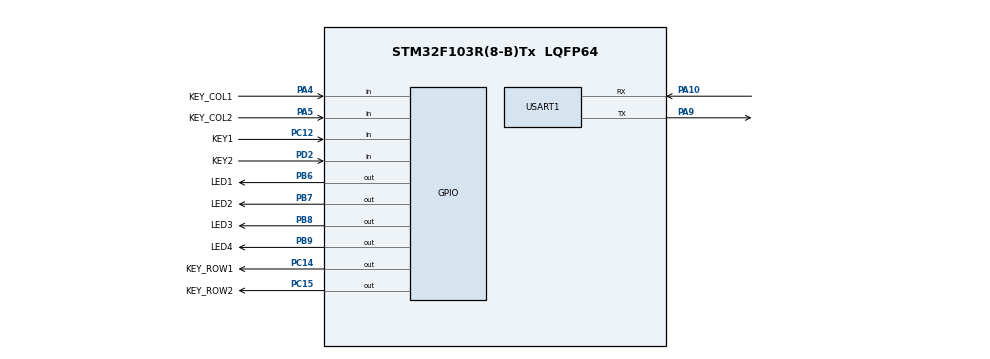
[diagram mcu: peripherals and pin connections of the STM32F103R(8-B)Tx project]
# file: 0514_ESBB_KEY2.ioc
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Mcu.Family=STM32F1
Mcu.Name=STM32F103R(8-B)Tx
Mcu.Package=LQFP64
NVIC.PriorityGroup=NVIC_PRIORITYGROUP_4
NVIC.TIM1_UP_IRQn=true\:0\:0\:false\:false\:true\:true\:true
PA10.Mode=Asynchronous
PA10.Signal=USART1_RX
PA13.Mode=Serial_Wire
PA13.Signal=SYS_JTMS-SWDIO
PA14.Mode=Serial_Wire
PA14.Signal=SYS_JTCK-SWCLK
PA4.GPIO_Label=KEY_COL1
PA4.Signal=GPIO_Input
PA5.GPIO_Label=KEY_COL2
PA5.Signal=GPIO_Input
PA9.Mode=Asynchronous
PA9.Signal=USART1_TX
PB6.GPIO_Label=LED1
PB6.Signal=GPIO_Output
PB7.GPIO_Label=LED2
PB7.Signal=GPIO_Output
PB8.GPIO_Label=LED3
PB8.Signal=GPIO_Output
PB9.GPIO_Label=LED4
PB9.Signal=GPIO_Output
PC12.GPIO_Label=KEY1
PC12.Signal=GPIO_Input
PC14-OSC32_IN.GPIO_Label=KEY_ROW1
PC14-OSC32_IN.Signal=GPIO_Output
PC15-OSC32_OUT.GPIO_Label=KEY_ROW2
PC15-OSC32_OUT.Signal=GPIO_Output
PD2.GPIO_Label=KEY2
PD2.Signal=GPIO_Input
ProjectManager.HeapSize=0x200
ProjectManager.StackSize=0x400
ProjectManager.TargetToolchain=TrueSTUDIO
RCC.APB1Freq_Value=8000000
RCC.APB2Freq_Value=8000000
TIM1.AutoReloadPreload=TIM_AUTORELOAD_PRELOAD_ENABLE
TIM1.Period=1000-1
TIM1.Prescaler=8-1
USART1.VirtualMode=VM_ASYNC
VP_TIM1_VS_ClockSourceINT.Mode=Internal
board=custom

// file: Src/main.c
/* USER CODE BEGIN Header */
/**
  ******************************************************************************
  * @file           : main.c
  * @brief          : Main program body
  ******************************************************************************
  * @attention
  *
  * <h2><center>&copy; Copyright (c) 2021 STMicroelectronics.
  * All rights reserved.</center></h2>
  *
  * This software component is licensed by ST under BSD 3-Clause license,
  * the "License"; You may not use this file except in compliance with the
  * License. You may obtain a copy of the License at:
  *                        opensource.org/licenses/BSD-3-Clause
  *
  ******************************************************************************
  */
/* USER CODE END Header */

#include "main.h"

/* USER CODE BEGIN Includes */
#include <stdio.h>

#include "led.h"
#include "key.h"
/* USER CODE END Includes */

TIM_HandleTypeDef htim1;

UART_HandleTypeDef huart1;

void SystemClock_Config(void);
static void MX_GPIO_Init(void);
static void MX_TIM1_Init(void);
static void MX_USART1_UART_Init(void);

/* USER CODE BEGIN 0 */
volatile uint32_t Tick1m;
uint32_t KeyScanFlag = RESET;

void HAL_TIM_PeriodElapsedCallback(TIM_HandleTypeDef *htim)
{
    Tick1m++;

    if( (Tick1m % 100) == 0)
    {
        //KeyScanTask();
        KeyScanFlag = SET;
    }
}

int _write(int file, char *ptr, int len)
{
    HAL_UART_Transmit(&huart1, (uint8_t *)ptr, len, 0xFFFFFFFF);

    return len;
}
/* USER CODE END 0 */

int main(void)
{
  /* USER CODE BEGIN 1 */
  uint8_t key = 0;

  KEY stKey;
  KEY* Key = &stKey ;
  /* USER CODE END 1 */

  /* MCU Configuration--------------------------------------------------------*/

  /* Reset of all peripherals, Initializes the Flash interface and the Systick. */
  HAL_Init();

  /* Configure the system clock */
  SystemClock_Config();

  /* Initialize all configured peripherals */
  MX_GPIO_Init();
  MX_TIM1_Init();
  MX_USART1_UART_Init();
  /* USER CODE BEGIN 2 */
  HAL_TIM_Base_Start_IT(&htim1);

  //KeyInit(&Key);
  KeyInit(Key);

  HAL_GPIO_WritePin(LED1_GPIO_Port, LED1_Pin, GPIO_PIN_SET);    // LED1 OFF
  HAL_GPIO_WritePin(LED2_GPIO_Port, LED2_Pin, GPIO_PIN_SET);    // LED2 OFF
  HAL_GPIO_WritePin(LED3_GPIO_Port, LED3_Pin, GPIO_PIN_SET);    // LED3 OFF
  HAL_GPIO_WritePin(LED4_GPIO_Port, LED4_Pin, GPIO_PIN_SET);    // LED4 OFF

  /* USER CODE END 2 */

  /* Infinite loop */
  while (1)
  {

    /* USER CODE BEGIN 3 */
      __HAL_TIM_DISABLE_IT(&htim1, TIM_IT_UPDATE);        /*** start critical section ***/
      if ( KeyScanFlag == SET)
      {
          KeyScanFlag = RESET;
          __HAL_TIM_ENABLE_IT(&htim1, TIM_IT_UPDATE);     /*** end critical section ***/
          //KeyScanTask();
          //KeyScanTask(&Key);
          KeyScanTask(Key);
      }
      __HAL_TIM_ENABLE_IT(&htim1, TIM_IT_UPDATE);         /*** end critical section ***/

      //if( KeyHit() )
      //if( KeyHit(&Key) )
      if( KeyHit(Key) )
      {

          //key = KeyGetKey();
          //key = KeyGetKey(&Key);
          key = KeyGetKey(Key);

          switch(key)
          {
              case 0:
              case 4:
              case 8:
                  HAL_GPIO_TogglePin(LED1_GPIO_Port, LED1_Pin);
                  break;
              case 1:
              case 5:
              case 9:
                  HAL_GPIO_TogglePin(LED2_GPIO_Port, LED2_Pin);
                  break;
              case 2:
              case 6:
              case 10:
                  HAL_GPIO_TogglePin(LED3_GPIO_Port, LED3_Pin);
                  break;
              case 3:
              case 7:
              case 11:
                  HAL_GPIO_TogglePin(LED4_GPIO_Port, LED4_Pin);
                  break;
          }
          printf("KEY : %d \r\n", key);
      }
  }
  /* USER CODE END 3 */
}

void SystemClock_Config(void)
{
  RCC_OscInitTypeDef RCC_OscInitStruct = {0};
  RCC_ClkInitTypeDef RCC_ClkInitStruct = {0};

  /** Initializes the CPU, AHB and APB busses clocks
  */
  RCC_OscInitStruct.OscillatorType = RCC_OSCILLATORTYPE_HSI;
  RCC_OscInitStruct.HSIState = RCC_HSI_ON;
  RCC_OscInitStruct.HSICalibrationValue = RCC_HSICALIBRATION_DEFAULT;
  RCC_OscInitStruct.PLL.PLLState = RCC_PLL_NONE;
  if (HAL_RCC_OscConfig(&RCC_OscInitStruct) != HAL_OK)
  {
    Error_Handler();
  }
  /** Initializes the CPU, AHB and APB busses clocks
  */
  RCC_ClkInitStruct.ClockType = RCC_CLOCKTYPE_HCLK|RCC_CLOCKTYPE_SYSCLK
                              |RCC_CLOCKTYPE_PCLK1|RCC_CLOCKTYPE_PCLK2;
  RCC_ClkInitStruct.SYSCLKSource = RCC_SYSCLKSOURCE_HSI;
  RCC_ClkInitStruct.AHBCLKDivider = RCC_SYSCLK_DIV1;
  RCC_ClkInitStruct.APB1CLKDivider = RCC_HCLK_DIV1;
  RCC_ClkInitStruct.APB2CLKDivider = RCC_HCLK_DIV1;

  if (HAL_RCC_ClockConfig(&RCC_ClkInitStruct, FLASH_LATENCY_0) != HAL_OK)
  {
    Error_Handler();
  }
}

static void MX_TIM1_Init(void)
{

  TIM_ClockConfigTypeDef sClockSourceConfig = {0};
  TIM_MasterConfigTypeDef sMasterConfig = {0};

  htim1.Instance = TIM1;
  htim1.Init.Prescaler = 8-1;
  htim1.Init.CounterMode = TIM_COUNTERMODE_UP;
  htim1.Init.Period = 1000-1;
  htim1.Init.ClockDivision = TIM_CLOCKDIVISION_DIV1;
  htim1.Init.RepetitionCounter = 0;
  htim1.Init.AutoReloadPreload = TIM_AUTORELOAD_PRELOAD_ENABLE;
  if (HAL_TIM_Base_Init(&htim1) != HAL_OK)
  {
    Error_Handler();
  }
  sClockSourceConfig.ClockSource = TIM_CLOCKSOURCE_INTERNAL;
  if (HAL_TIM_ConfigClockSource(&htim1, &sClockSourceConfig) != HAL_OK)
  {
    Error_Handler();
  }
  sMasterConfig.MasterOutputTrigger = TIM_TRGO_RESET;
  sMasterConfig.MasterSlaveMode = TIM_MASTERSLAVEMODE_DISABLE;
  if (HAL_TIMEx_MasterConfigSynchronization(&htim1, &sMasterConfig) != HAL_OK)
  {
    Error_Handler();
  }

}

static void MX_USART1_UART_Init(void)
{

  huart1.Instance = USART1;
  huart1.Init.BaudRate = 115200;
  huart1.Init.WordLength = UART_WORDLENGTH_8B;
  huart1.Init.StopBits = UART_STOPBITS_1;
  huart1.Init.Parity = UART_PARITY_NONE;
  huart1.Init.Mode = UART_MODE_TX_RX;
  huart1.Init.HwFlowCtl = UART_HWCONTROL_NONE;
  huart1.Init.OverSampling = UART_OVERSAMPLING_16;
  if (HAL_UART_Init(&huart1) != HAL_OK)
  {
    Error_Handler();
  }

}

static void MX_GPIO_Init(void)
{
  GPIO_InitTypeDef GPIO_InitStruct = {0};

  /* GPIO Ports Clock Enable */
  __HAL_RCC_GPIOC_CLK_ENABLE();
  __HAL_RCC_GPIOA_CLK_ENABLE();
  __HAL_RCC_GPIOD_CLK_ENABLE();
  __HAL_RCC_GPIOB_CLK_ENABLE();

  /*Configure GPIO pin Output Level */
  HAL_GPIO_WritePin(GPIOC, KEY_ROW1_Pin|KEY_ROW2_Pin, GPIO_PIN_RESET);

  /*Configure GPIO pin Output Level */
  HAL_GPIO_WritePin(GPIOB, LED1_Pin|LED2_Pin|LED3_Pin|LED4_Pin, GPIO_PIN_RESET);

  /*Configure GPIO pins : KEY_ROW1_Pin KEY_ROW2_Pin */
  GPIO_InitStruct.Pin = KEY_ROW1_Pin|KEY_ROW2_Pin;
  GPIO_InitStruct.Mode = GPIO_MODE_OUTPUT_PP;
  GPIO_InitStruct.Pull = GPIO_NOPULL;
  GPIO_InitStruct.Speed = GPIO_SPEED_FREQ_LOW;
  HAL_GPIO_Init(GPIOC, &GPIO_InitStruct);

  /*Configure GPIO pins : KEY_COL1_Pin KEY_COL2_Pin */
  GPIO_InitStruct.Pin = KEY_COL1_Pin|KEY_COL2_Pin;
  GPIO_InitStruct.Mode = GPIO_MODE_INPUT;
  GPIO_InitStruct.Pull = GPIO_NOPULL;
  HAL_GPIO_Init(GPIOA, &GPIO_InitStruct);

  /*Configure GPIO pin : KEY1_Pin */
  GPIO_InitStruct.Pin = KEY1_Pin;
  GPIO_InitStruct.Mode = GPIO_MODE_INPUT;
  GPIO_InitStruct.Pull = GPIO_NOPULL;
  HAL_GPIO_Init(KEY1_GPIO_Port, &GPIO_InitStruct);

  /*Configure GPIO pin : KEY2_Pin */
  GPIO_InitStruct.Pin = KEY2_Pin;
  GPIO_InitStruct.Mode = GPIO_MODE_INPUT;
  GPIO_InitStruct.Pull = GPIO_NOPULL;
  HAL_GPIO_Init(KEY2_GPIO_Port, &GPIO_InitStruct);

  /*Configure GPIO pins : LED1_Pin LED2_Pin LED3_Pin LED4_Pin */
  GPIO_InitStruct.Pin = LED1_Pin|LED2_Pin|LED3_Pin|LED4_Pin;
  GPIO_InitStruct.Mode = GPIO_MODE_OUTPUT_PP;
  GPIO_InitStruct.Pull = GPIO_NOPULL;
  GPIO_InitStruct.Speed = GPIO_SPEED_FREQ_LOW;
  HAL_GPIO_Init(GPIOB, &GPIO_InitStruct);

}

void Error_Handler(void)
{
}

/************************ (C) COPYRIGHT STMicroelectronics *****END OF FILE****/
